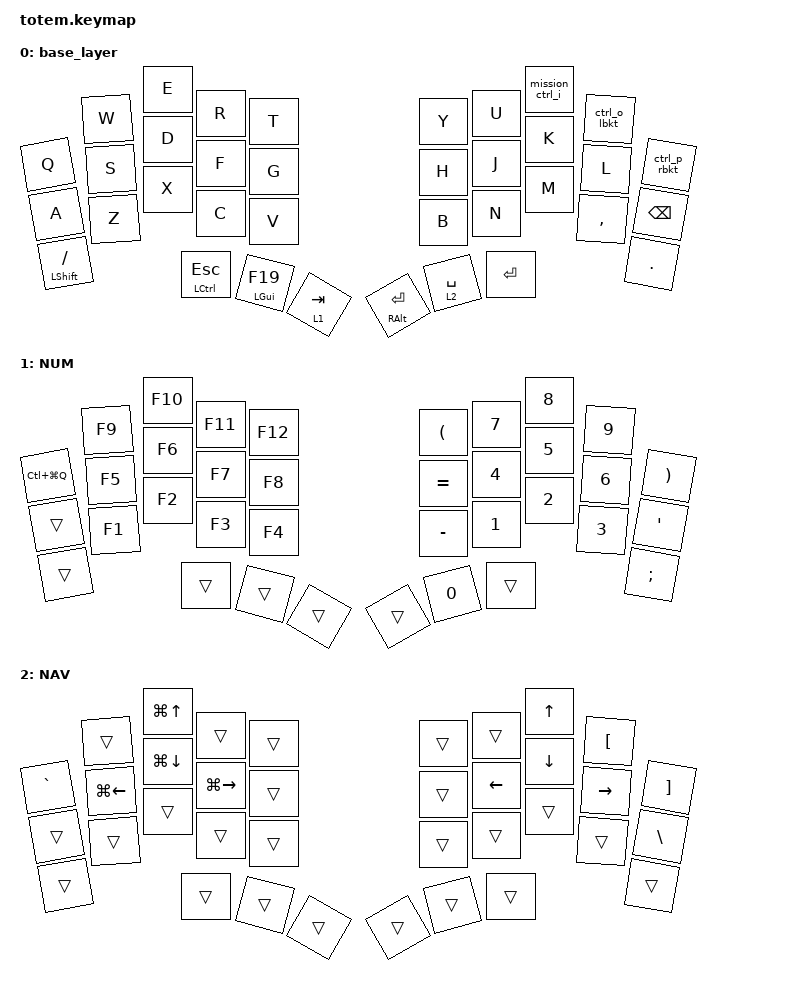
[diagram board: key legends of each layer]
#include "keypos_def/keypos_36keys_totem.h"     // keyposition helpers (Totem 36-key)
#include <behaviors.dtsi>
#include <dt-bindings/zmk/keys.h>

/ {
    behaviors {
        mission_ctrl_i: mission_ctrl_i {
            compatible = "zmk,behavior-mod-morph";
            label = "MISSION_CTRL_I";
            bindings = <&kp I>, <&kp UP>;

            #binding-cells = <0>;
            mods = <(MOD_LCTL|MOD_RCTL)>;
            keep-mods = <(MOD_RCTL|MOD_LCTL)>;
        };

        sk_slash_shft: sk_slash_shft {
            compatible = "zmk,behavior-hold-tap";
            label = "SK_SLASH_SHFT";
            bindings = <&sk>, <&kp>;

            #binding-cells = <2>;
            tapping-term-ms = <150>;
        };

        ctrl_o_lbkt: ctrl_o_lbkt {
            compatible = "zmk,behavior-mod-morph";
            label = "CTRL_O_LBKT";
            bindings = <&kp O>, <&kp LBKT>;

            #binding-cells = <0>;
            mods = <(MOD_LCTL|MOD_RCTL)>;
            keep-mods = <(MOD_LCTL|MOD_RCTL)>;
        };

        ctrl_p_rbkt: ctrl_p_rbkt {
            compatible = "zmk,behavior-mod-morph";
            label = "CTRL_P_RBKT";
            bindings = <&kp P>, <&kp RBKT>;

            #binding-cells = <0>;
            mods = <(MOD_LCTL|MOD_RCTL)>;
            keep-mods = <(MOD_LCTL|MOD_RCTL)>;
        };
    };

    keymap {
        compatible = "zmk,keymap";

        base_layer {
            bindings = <
&kp Q                       &kp W  &kp E          &kp R             &kp T      &kp Y              &kp U        &mission_ctrl_i  &ctrl_o_lbkt  &ctrl_p_rbkt
&kp A                       &kp S  &kp D          &kp F             &kp G      &kp H              &kp J        &kp K            &kp L         &kp BSPC
&sk_slash_shft LSHFT SLASH  &kp Z  &kp X          &kp C             &kp V      &kp B              &kp N        &kp M            &kp COMMA     &kp PERIOD
                                   &mt LCTRL ESC  &mt LEFT_GUI F19  &lt 1 TAB  &mt RIGHT_ALT RET  &lt 2 SPACE  &kp ENTER
            >;
        };

        NUM {
            bindings = <
&kp LC(LG(Q))  &kp F9  &kp F10  &kp F11  &kp F12  &kp LPAR   &kp N7  &kp N8  &kp N9  &kp RPAR
&trans         &kp F5  &kp F6   &kp F7   &kp F8   &kp EQUAL  &kp N4  &kp N5  &kp N6  &kp SQT
&trans         &kp F1  &kp F2   &kp F3   &kp F4   &kp MINUS  &kp N1  &kp N2  &kp N3  &kp SEMI
                       &trans   &trans   &trans   &trans     &kp N0  &trans
            >;

            label = "NUM";
        };

        NAV {
            bindings = <
&kp GRAVE  &trans        &kp LG(UP)    &trans         &trans  &trans  &trans    &kp UP    &kp LBKT   &kp RBKT
&trans     &kp LG(LEFT)  &kp LG(DOWN)  &kp LG(RIGHT)  &trans  &trans  &kp LEFT  &kp DOWN  &kp RIGHT  &kp BSLH
&trans     &trans        &trans        &trans         &trans  &trans  &trans    &trans    &trans     &trans
                         &trans        &trans         &trans  &trans  &trans    &trans
            >;

            label = "NAV";
        };
    };
};
